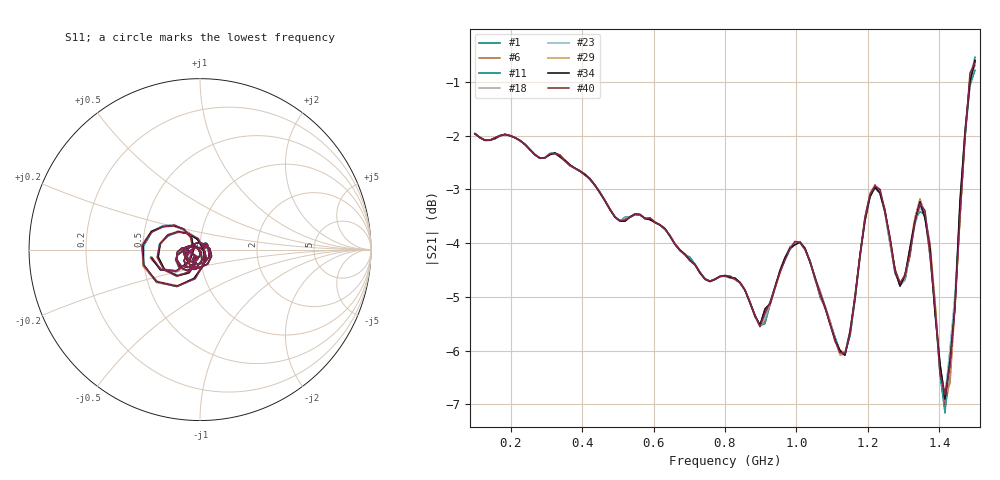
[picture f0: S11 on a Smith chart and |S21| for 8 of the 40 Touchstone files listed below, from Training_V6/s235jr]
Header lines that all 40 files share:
! NanoVNA-App
! Start: 100MHz Stop: 1,5GHz Points: 101
! S-Parameter data: F S11 S21 S12 S22
# Hz S RI R 50
!  Frequency  S11_Real  S11_Imag  S21_Real  S21_Imag  S12_Real  S12_Imag  S22_Real  S22_Imag
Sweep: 100 MHz to 1.5 GHz
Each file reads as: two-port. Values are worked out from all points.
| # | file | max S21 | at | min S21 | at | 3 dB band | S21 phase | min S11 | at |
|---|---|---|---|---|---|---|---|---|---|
| 1 | s235jr (1).s2p | -0.54 dB | 1.5 GHz | -6.9 dB | 1.416 GHz | 100 MHz-492 MHz | 125 deg at 800 MHz | -40.4 dB | 660 MHz |
| 2 | s235jr (2).s2p | -0.69 dB | 1.5 GHz | -7.1 dB | 1.416 GHz | 100 MHz-618 MHz | 125 deg at 800 MHz | -40.7 dB | 660 MHz |
| 3 | s235jr (3).s2p | -0.68 dB | 1.5 GHz | -7.1 dB | 1.416 GHz | 100 MHz-618 MHz | 125 deg at 800 MHz | -40.0 dB | 660 MHz |
| 4 | s235jr (4).s2p | -0.59 dB | 1.5 GHz | -6.9 dB | 1.416 GHz | 100 MHz-590 MHz | 125 deg at 800 MHz | -40.7 dB | 660 MHz |
| 5 | s235jr (5).s2p | -0.42 dB | 1.5 GHz | -7.0 dB | 1.416 GHz | 100 MHz-478 MHz | 125 deg at 800 MHz | -39.8 dB | 660 MHz |
| 6 | s235jr (6).s2p | -0.69 dB | 1.5 GHz | -7.1 dB | 1.416 GHz | 100 MHz-618 MHz | 125 deg at 800 MHz | -40.4 dB | 660 MHz |
| 7 | s235jr (7).s2p | -0.65 dB | 1.5 GHz | -6.9 dB | 1.416 GHz | 100 MHz-604 MHz | 125 deg at 800 MHz | -40.0 dB | 660 MHz |
| 8 | s235jr (8).s2p | -0.64 dB | 1.5 GHz | -7.1 dB | 1.416 GHz | 100 MHz-604 MHz | 125 deg at 800 MHz | -39.7 dB | 660 MHz |
| 9 | s235jr (9).s2p | -0.70 dB | 1.5 GHz | -7.0 dB | 1.416 GHz | 100 MHz-618 MHz | 125 deg at 800 MHz | -40.3 dB | 660 MHz |
| 10 | s235jr (10).s2p | -0.62 dB | 1.5 GHz | -6.7 dB | 1.416 GHz | 100 MHz-604 MHz | 125 deg at 800 MHz | -40.0 dB | 660 MHz |
| 11 | s235jr (11).s2p | -0.78 dB | 1.5 GHz | -7.2 dB | 1.416 GHz | 100 MHz-632 MHz | 125 deg at 800 MHz | -40.7 dB | 660 MHz |
| 12 | s235jr (12).s2p | -0.50 dB | 1.5 GHz | -7.1 dB | 1.416 GHz | 100 MHz-478 MHz | 125 deg at 800 MHz | -40.6 dB | 660 MHz |
| 13 | s235jr (13).s2p | -0.63 dB | 1.5 GHz | -7.0 dB | 1.416 GHz | 100 MHz-604 MHz | 125 deg at 800 MHz | -40.0 dB | 660 MHz |
| 14 | s235jr (14).s2p | -0.61 dB | 1.5 GHz | -7.1 dB | 1.416 GHz | 100 MHz-604 MHz | 125 deg at 800 MHz | -40.4 dB | 660 MHz |
| 15 | s235jr (15).s2p | -0.70 dB | 1.5 GHz | -7.0 dB | 1.416 GHz | 100 MHz-618 MHz | 125 deg at 800 MHz | -40.3 dB | 660 MHz |
| 16 | s235jr (16).s2p | -0.57 dB | 1.5 GHz | -7.1 dB | 1.416 GHz | 100 MHz-492 MHz | 125 deg at 800 MHz | -40.2 dB | 660 MHz |
| 17 | s235jr (17).s2p | -0.74 dB | 1.5 GHz | -7.0 dB | 1.416 GHz | 100 MHz-632 MHz | 125 deg at 800 MHz | -40.5 dB | 660 MHz |
| 18 | s235jr (18).s2p | -0.61 dB | 1.5 GHz | -6.8 dB | 1.416 GHz | 100 MHz-590 MHz | 125 deg at 800 MHz | -40.6 dB | 660 MHz |
| 19 | s235jr (19).s2p | -0.71 dB | 1.5 GHz | -6.8 dB | 1.416 GHz | 100 MHz-618 MHz | 125 deg at 800 MHz | -39.9 dB | 660 MHz |
| 20 | s235jr (20).s2p | -0.51 dB | 1.5 GHz | -7.0 dB | 1.416 GHz | 100 MHz-492 MHz | 125 deg at 800 MHz | -39.7 dB | 660 MHz |
| 21 | s235jr (21).s2p | -0.56 dB | 1.5 GHz | -6.8 dB | 1.416 GHz | 100 MHz-492 MHz | 125 deg at 800 MHz | -40.0 dB | 660 MHz |
| 22 | s235jr (22).s2p | -0.69 dB | 1.5 GHz | -6.9 dB | 1.416 GHz | 100 MHz-618 MHz | 125 deg at 800 MHz | -40.7 dB | 660 MHz |
| 23 | s235jr (23).s2p | -0.58 dB | 1.5 GHz | -6.9 dB | 1.416 GHz | 100 MHz-492 MHz | 125 deg at 800 MHz | -40.7 dB | 660 MHz |
| 24 | s235jr (24).s2p | -0.61 dB | 1.5 GHz | -6.9 dB | 1.416 GHz | 100 MHz-590 MHz | 125 deg at 800 MHz | -39.8 dB | 660 MHz |
| 25 | s235jr (25).s2p | -0.54 dB | 1.5 GHz | -7.0 dB | 1.416 GHz | 100 MHz-492 MHz | 125 deg at 800 MHz | -40.1 dB | 660 MHz |
| 26 | s235jr (26).s2p | -0.78 dB | 1.486 GHz | -6.9 dB | 1.43 GHz | 100 MHz-632 MHz | 125 deg at 800 MHz | -40.1 dB | 660 MHz |
| 27 | s235jr (27).s2p | -0.57 dB | 1.5 GHz | -7.0 dB | 1.416 GHz | 100 MHz-492 MHz | 125 deg at 800 MHz | -40.1 dB | 660 MHz |
| 28 | s235jr (28).s2p | -0.76 dB | 1.5 GHz | -7.2 dB | 1.416 GHz | 100 MHz-632 MHz | 125 deg at 800 MHz | -40.1 dB | 660 MHz |
| 29 | s235jr (29).s2p | -0.59 dB | 1.5 GHz | -6.8 dB | 1.416 GHz | 100 MHz-590 MHz | 125 deg at 800 MHz | -40.0 dB | 660 MHz |
| 30 | s235jr (30).s2p | -0.82 dB | 1.5 GHz | -6.9 dB | 1.416 GHz | 100 MHz-632 MHz | 125 deg at 800 MHz | -40.3 dB | 660 MHz |
| 31 | s235jr (31).s2p | -0.70 dB | 1.5 GHz | -7.0 dB | 1.416 GHz | 100 MHz-618 MHz | 125 deg at 800 MHz | -40.1 dB | 660 MHz |
| 32 | s235jr (32).s2p | -0.70 dB | 1.5 GHz | -7.0 dB | 1.416 GHz | 100 MHz-618 MHz | 125 deg at 800 MHz | -40.2 dB | 660 MHz |
| 33 | s235jr (33).s2p | -0.53 dB | 1.5 GHz | -7.1 dB | 1.416 GHz | 100 MHz-492 MHz | 125 deg at 800 MHz | -40.3 dB | 660 MHz |
| 34 | s235jr (34).s2p | -0.60 dB | 1.5 GHz | -6.9 dB | 1.416 GHz | 100 MHz-590 MHz | 125 deg at 800 MHz | -40.6 dB | 660 MHz |
| 35 | s235jr (35).s2p | -0.65 dB | 1.5 GHz | -7.0 dB | 1.416 GHz | 100 MHz-604 MHz | 125 deg at 800 MHz | -40.6 dB | 660 MHz |
| 36 | s235jr (36).s2p | -0.54 dB | 1.5 GHz | -6.8 dB | 1.416 GHz | 100 MHz-492 MHz | 125 deg at 800 MHz | -40.6 dB | 660 MHz |
| 37 | s235jr (37).s2p | -0.84 dB | 1.5 GHz | -7.0 dB | 1.416 GHz | 100 MHz-632 MHz | 126 deg at 800 MHz | -39.9 dB | 660 MHz |
| 38 | s235jr (38).s2p | -0.59 dB | 1.5 GHz | -6.9 dB | 1.416 GHz | 100 MHz-590 MHz | 125 deg at 800 MHz | -39.9 dB | 660 MHz |
| 39 | s235jr (39).s2p | -0.60 dB | 1.5 GHz | -7.0 dB | 1.43 GHz | 100 MHz-506 MHz | 125 deg at 800 MHz | -40.8 dB | 660 MHz |
| 40 | s235jr (40).s2p | -0.64 dB | 1.5 GHz | -6.8 dB | 1.416 GHz | 100 MHz-604 MHz | 125 deg at 800 MHz | -40.8 dB | 660 MHz |
